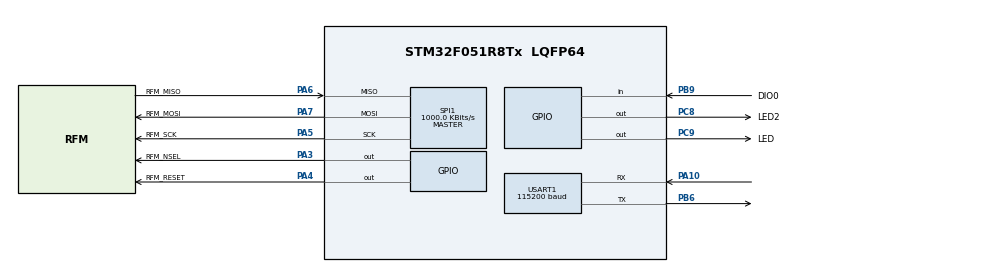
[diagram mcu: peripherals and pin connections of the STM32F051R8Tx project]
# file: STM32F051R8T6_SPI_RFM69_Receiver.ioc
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Mcu.Family=STM32F0
PA6.Mode=Full_Duplex_Master
PA7.Mode=Full_Duplex_Master
PB9.GPIO_Label=DIO0
PA10.Mode=Asynchronous
SPI1.VirtualType=VM_MASTER
PC9.GPIO_Label=LED
USART1.BaudRate=115200
PC8.Signal=GPIO_Output
PA6.GPIO_Label=RFM_MISO
SPI1.CLKPhase=SPI_PHASE_2EDGE
ProjectManager.StackSize=0x400
PC8.GPIO_Label=LED2
USART1.VirtualMode-Asynchronous=VM_ASYNC
PA13.Signal=SYS_SWDIO
ProjectManager.TargetToolchain=STM32CubeIDE
SPI1.Direction=SPI_DIRECTION_2LINES
PB6.Signal=USART1_TX
PB6.Mode=Asynchronous
SPI1.CalculateBaudRate=1000.0 KBits/s
PF0-OSC_IN.Mode=HSE-External-Clock-Source
PA5.Signal=SPI1_SCK
board=custom
SPI1.Mode=SPI_MODE_MASTER
PA14.Mode=Serial_Wire
SPI1.DataSize=SPI_DATASIZE_8BIT
PA13.Mode=Serial_Wire
Mcu.Name=STM32F051R8Tx
PA4.Signal=GPIO_Output
Mcu.Package=LQFP64
PB9.Signal=GPIO_Input
PA6.Signal=SPI1_MISO
PA7.GPIO_Label=RFM_MOSI
PA5.GPIO_Label=RFM_SCK
PA10.Signal=USART1_RX
PA14.Signal=SYS_SWCLK
ProjectManager.HeapSize=0x200
PC9.Signal=GPIO_Output
PF0-OSC_IN.Signal=RCC_OSC_IN
SPI1.BaudRatePrescaler=SPI_BAUDRATEPRESCALER_8
PA4.GPIO_Label=RFM_RESET
PA3.GPIO_Label=RFM_NSEL
PA3.Signal=GPIO_Output
PA5.Mode=Full_Duplex_Master
PA7.Signal=SPI1_MOSI

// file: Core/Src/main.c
/* USER CODE BEGIN Header */
/**
 ******************************************************************************
 * @file           : main.c
 * @brief          : Main program body
 ******************************************************************************
 * @attention
 *
 * <h2><center>&copy; Copyright (c) 2021 STMicroelectronics.
 * All rights reserved.</center></h2>
 *
 * This software component is licensed by ST under BSD 3-Clause license,
 * the "License"; You may not use this file except in compliance with the
 * License. You may obtain a copy of the License at:
 *                        opensource.org/licenses/BSD-3-Clause
 *
 ******************************************************************************
 */
/* USER CODE END Header */
#include "main.h"

/* USER CODE BEGIN Includes */
#include "rfm69.h"
#include "stdio.h"
#include "string.h"
/* USER CODE END Includes */

/* USER CODE BEGIN PTD */
#define HUB_ID   0xAB
#define DEVICE_ID 0xCB
#define NETWORKID     0x10
#define FREQUENCY     RF69_433MHZ
#define ENCRYPTKEY    "sampleEncryptKey" //exactly the same 16 characters/bytes on all nodes!
#define LED_CTRL_CMD_POS 0
/* USER CODE END PTD */

SPI_HandleTypeDef hspi1;

UART_HandleTypeDef huart1;

void SystemClock_Config(void);
static void MX_GPIO_Init(void);
static void MX_SPI1_Init(void);
static void MX_USART1_UART_Init(void);

int main(void) {

	/* MCU Configuration--------------------------------------------------------*/

	/* Reset of all peripherals, Initializes the Flash interface and the Systick. */
	HAL_Init();

	/* Configure the system clock */
	SystemClock_Config();

	/* Initialize all configured peripherals */
	MX_GPIO_Init();
	MX_SPI1_Init();
	MX_USART1_UART_Init();
	/* USER CODE BEGIN 2 */
	char RxBuffer[150] = { };
	if (rfm69_init(FREQUENCY, DEVICE_ID, NETWORKID)) {
		HAL_GPIO_WritePin(LED_GPIO_Port, LED_Pin, GPIO_PIN_SET);
	} else {
		sprintf(RxBuffer, "RFM69 Init() -> false\r\n");
	}

	if (!setAESEncryption(ENCRYPTKEY, 16)) {
		Error_Handler();
	}

	HAL_UART_Transmit(&huart1, (uint8_t*) &RxBuffer, strlen(RxBuffer), 100);

	int rfm_freq = getFrequency();
	sprintf(RxBuffer, "RFM Freq: %u Hz\r\n", rfm_freq);
	HAL_UART_Transmit(&huart1, (uint8_t*) &RxBuffer, strlen(RxBuffer), 100);
	Payload receive_data;
	receiveBegin();
	char data_to_transmit[] = { 0x01, 0xBB };
	/* USER CODE END 2 */

	/* Infinite loop */
	/* USER CODE BEGIN WHILE */
	while (1) {
		/*
		 if (waitForResponce(&receive_data, 1000)) {
		 if (receive_data.data[LED_CTRL_CMD_POS] == 0x01) {
		 HAL_GPIO_TogglePin(LED_GPIO_Port, LED_Pin);
		 }
		 */
		send(HUB_ID, (uint8_t*) &data_to_transmit, sizeof(data_to_transmit),false, true);
		HAL_GPIO_TogglePin(LED_GPIO_Port, LED_Pin);
		HAL_Delay(1000);
	}

	/* USER CODE END WHILE */

}

void SystemClock_Config(void) {
	RCC_OscInitTypeDef RCC_OscInitStruct = { 0 };
	RCC_ClkInitTypeDef RCC_ClkInitStruct = { 0 };
	RCC_PeriphCLKInitTypeDef PeriphClkInit = { 0 };

	/** Initializes the RCC Oscillators according to the specified parameters
	 * in the RCC_OscInitTypeDef structure.
	 */
	RCC_OscInitStruct.OscillatorType = RCC_OSCILLATORTYPE_HSI;
	RCC_OscInitStruct.HSIState = RCC_HSI_ON;
	RCC_OscInitStruct.HSICalibrationValue = RCC_HSICALIBRATION_DEFAULT;
	RCC_OscInitStruct.PLL.PLLState = RCC_PLL_NONE;
	if (HAL_RCC_OscConfig(&RCC_OscInitStruct) != HAL_OK) {
		Error_Handler();
	}
	/** Initializes the CPU, AHB and APB buses clocks
	 */
	RCC_ClkInitStruct.ClockType = RCC_CLOCKTYPE_HCLK | RCC_CLOCKTYPE_SYSCLK
			| RCC_CLOCKTYPE_PCLK1;
	RCC_ClkInitStruct.SYSCLKSource = RCC_SYSCLKSOURCE_HSI;
	RCC_ClkInitStruct.AHBCLKDivider = RCC_SYSCLK_DIV1;
	RCC_ClkInitStruct.APB1CLKDivider = RCC_HCLK_DIV1;

	if (HAL_RCC_ClockConfig(&RCC_ClkInitStruct, FLASH_LATENCY_0) != HAL_OK) {
		Error_Handler();
	}
	PeriphClkInit.PeriphClockSelection = RCC_PERIPHCLK_USART1;
	PeriphClkInit.Usart1ClockSelection = RCC_USART1CLKSOURCE_PCLK1;
	if (HAL_RCCEx_PeriphCLKConfig(&PeriphClkInit) != HAL_OK) {
		Error_Handler();
	}
}

static void MX_SPI1_Init(void) {

	/* SPI1 parameter configuration*/
	hspi1.Instance = SPI1;
	hspi1.Init.Mode = SPI_MODE_MASTER;
	hspi1.Init.Direction = SPI_DIRECTION_2LINES;
	hspi1.Init.DataSize = SPI_DATASIZE_8BIT;
	hspi1.Init.CLKPolarity = SPI_POLARITY_LOW;
	hspi1.Init.CLKPhase = SPI_PHASE_2EDGE;
	hspi1.Init.NSS = SPI_NSS_SOFT;
	hspi1.Init.BaudRatePrescaler = SPI_BAUDRATEPRESCALER_8;
	hspi1.Init.FirstBit = SPI_FIRSTBIT_MSB;
	hspi1.Init.TIMode = SPI_TIMODE_DISABLE;
	hspi1.Init.CRCCalculation = SPI_CRCCALCULATION_DISABLE;
	hspi1.Init.CRCPolynomial = 7;
	hspi1.Init.CRCLength = SPI_CRC_LENGTH_DATASIZE;
	hspi1.Init.NSSPMode = SPI_NSS_PULSE_DISABLE;
	if (HAL_SPI_Init(&hspi1) != HAL_OK) {
		Error_Handler();
	}

}

static void MX_USART1_UART_Init(void) {

	huart1.Instance = USART1;
	huart1.Init.BaudRate = 115200;
	huart1.Init.WordLength = UART_WORDLENGTH_8B;
	huart1.Init.StopBits = UART_STOPBITS_1;
	huart1.Init.Parity = UART_PARITY_NONE;
	huart1.Init.Mode = UART_MODE_TX_RX;
	huart1.Init.HwFlowCtl = UART_HWCONTROL_NONE;
	huart1.Init.OverSampling = UART_OVERSAMPLING_16;
	huart1.Init.OneBitSampling = UART_ONE_BIT_SAMPLE_DISABLE;
	huart1.AdvancedInit.AdvFeatureInit = UART_ADVFEATURE_NO_INIT;
	if (HAL_UART_Init(&huart1) != HAL_OK) {
		Error_Handler();
	}

}

static void MX_GPIO_Init(void) {
	GPIO_InitTypeDef GPIO_InitStruct = { 0 };

	/* GPIO Ports Clock Enable */
	__HAL_RCC_GPIOF_CLK_ENABLE();
	__HAL_RCC_GPIOA_CLK_ENABLE();
	__HAL_RCC_GPIOC_CLK_ENABLE();
	__HAL_RCC_GPIOB_CLK_ENABLE();

	/*Configure GPIO pin Output Level */
	HAL_GPIO_WritePin(GPIOA, RFM_NSEL_Pin | RFM_RESET_Pin, GPIO_PIN_RESET);

	/*Configure GPIO pin Output Level */
	HAL_GPIO_WritePin(GPIOC, LED2_Pin | LED_Pin, GPIO_PIN_RESET);

	/*Configure GPIO pins : RFM_NSEL_Pin RFM_RESET_Pin */
	GPIO_InitStruct.Pin = RFM_NSEL_Pin | RFM_RESET_Pin;
	GPIO_InitStruct.Mode = GPIO_MODE_OUTPUT_PP;
	GPIO_InitStruct.Pull = GPIO_NOPULL;
	GPIO_InitStruct.Speed = GPIO_SPEED_FREQ_LOW;
	HAL_GPIO_Init(GPIOA, &GPIO_InitStruct);

	/*Configure GPIO pins : LED2_Pin LED_Pin */
	GPIO_InitStruct.Pin = LED2_Pin | LED_Pin;
	GPIO_InitStruct.Mode = GPIO_MODE_OUTPUT_PP;
	GPIO_InitStruct.Pull = GPIO_NOPULL;
	GPIO_InitStruct.Speed = GPIO_SPEED_FREQ_LOW;
	HAL_GPIO_Init(GPIOC, &GPIO_InitStruct);

	/*Configure GPIO pin : DIO0_Pin */
	GPIO_InitStruct.Pin = DIO0_Pin;
	GPIO_InitStruct.Mode = GPIO_MODE_INPUT;
	GPIO_InitStruct.Pull = GPIO_NOPULL;
	HAL_GPIO_Init(DIO0_GPIO_Port, &GPIO_InitStruct);

}

void Error_Handler(void) {
	__disable_irq();
	while (1) {
	}
}

/************************ (C) COPYRIGHT STMicroelectronics *****END OF FILE****/
